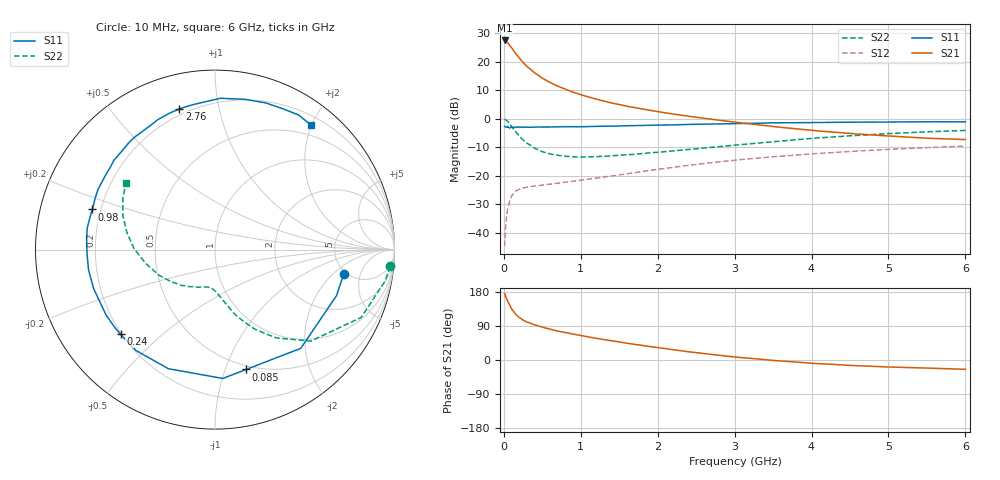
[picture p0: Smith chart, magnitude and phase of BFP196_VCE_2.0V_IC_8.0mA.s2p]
! Infineon Technologies  Discrete & RF Semiconductors
! BFP196
! VCE = 2.0 V,  IC = 8.0mA
! Common Emitter S-Parameters:  Jan 2016
# GHz  S  MA  R  50
!  f  S11  S21  S12  S22
! GHz  MAG  ANG  MAG  ANG  MAG  ANG  MAG  ANG
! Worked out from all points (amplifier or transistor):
!   210 points, 10 MHz to 6 GHz, reference 50 ohm
!   highest |S21| = 27.4 dB at 10 MHz (marker M1)
!   |S21| within 3 dB of that: start of sweep to 113.2 MHz
!   unconditionally stable (mu >= 1): 927.9 MHz to 3.405 GHz; 5.92 GHz to end of sweep
!   at 185 MHz: K = 0.27, MSG = 23.4 dB, |S12| = -25.0 dB
!   at 1.52 GHz: K = 1.17, MAG = 9.7 dB, |S12| = -19.7 dB
!   at 6 GHz: K = 1.00, MAG = 0.8 dB, |S12| = -9.6 dB
!   S11 on the Smith chart (normalised r, x): 10 MHz: 4.75, -2.75; 85 MHz: 0.46, -1.18; 240 MHz: 0.20, -0.37; 980 MHz: 0.17, +0.15; 2.76 GHz: 0.17, +0.76; 6 GHz: 0.33, +1.98
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0.01  0.7298 -10.7  23.44 175.5  0.0058 84.9  0.9805 -5.5
0.02  0.7241 -20.7  22.77 169.0  0.0112 80.5  0.964 -10.4
0.05  0.7288 -49.0  21.41 154.3  0.0268 66.3  0.8979 -24.9
0.085  0.6899 -75.4  18.52 141.5  0.0385 54.3  0.7763 -37.3
0.1  0.7193 -86.5  17.62 134.8  0.0438 51.2  0.7378 -43.7
0.15  0.7127 -111.4  14.03 121.2  0.0532 41.7  0.5983 -55.3
0.2  0.7141 -128.2  11.57 112.0  0.0577 36.0  0.4961 -63.4
0.24  0.707 -138.1  9.976 106.8  0.0602 33.2  0.4351 -67.9
0.3  0.7077 -149.1  8.197 100.2  0.063 30.5  0.3725 -73.3
0.4  0.7101 -162.1  6.353 92.6  0.0659 29.1  0.303 -79.2
0.5  0.7137 -170.8  5.115 86.6  0.0682 29.1  0.263 -83.8
0.6  0.713 -178.0  4.297 81.2  0.0707 29.9  0.2405 -87.4
0.7  0.7175 175.5  3.715 76.3  0.0736 31.1  0.2273 -90.6
0.98  0.7194 161.9  2.678 65.3  0.0822 34.8  0.2124 -98.9
1.02  0.7209 160.1  2.575 63.8  0.0835 35.3  0.2124 -100.1
1.4  0.7383 145.2  1.881 50.8  0.0986 38.9  0.2229 -110.4
2.02  0.7701 125.2  1.312 32.2  0.1299 41.0  0.2576 -128.4
2.76  0.8082 104.2  0.951 13.4  0.1726 37.7  0.3186 -149.2
3.1  0.8201 96.4  0.837 6.2  0.1921 34.6  0.3519 -158.5
4.1  0.8548 77.1  0.606 -9.7  0.2454 24.2  0.4586 177.2
5.1  0.8727 63.0  0.487 -19.0  0.293 12.7  0.5531 158.1
6  0.876 52.5  0.429 -24.5  0.3303 1.8  0.6211 143.0
